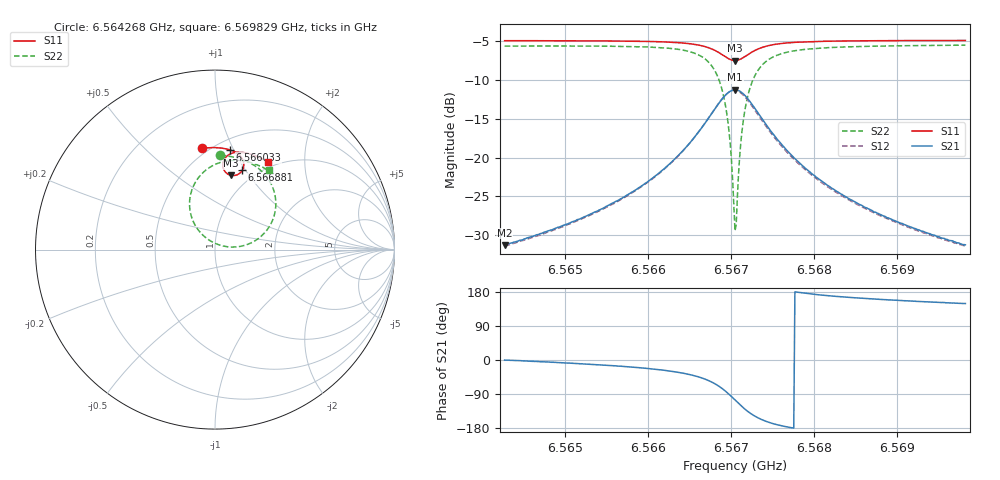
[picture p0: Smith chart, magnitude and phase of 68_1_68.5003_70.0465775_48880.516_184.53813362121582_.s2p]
#  HZ  S  RI  R  50.00
! Rohde & Schwarz Vector Network Analyzer
! Rohde-Schwarz,ZNB20-2Port,1311601062101988,3.16
! Created: UTC 3/20/2024, 5:06:46 PM
! freq[Hz]  re:S11  im:S11  re:S21  im:S21  re:S12  im:S12  re:S22  im:S22
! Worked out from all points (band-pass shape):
!   401 points, 6.564268 GHz to 6.569829 GHz, reference 50 ohm
!   highest |S21| = -11.24 dB at 6.567048 GHz (marker M1); lowest = -31.3 dB at 6.564268 GHz (marker M2)
!   |S21| within 3 dB of the highest: 6.566771 GHz to 6.567327 GHz (555.7 kHz wide, 0.00846 % of centre)
!   lowest |S11| = -7.5 dB at 6.567048 GHz (marker M3), VSWR 2.47, Z = 41 + j41.3 ohm
!   |S11| at or under -10 dB: nowhere
!   |S22| runs from -29.4 to -5.5 dB; largest |S21 - S12| = 0.013
!   S11 on the Smith chart (normalised r, x): 6.564268 GHz: 0.46, +0.77; 6.566033 GHz: 0.59, +0.97; 6.566881 GHz: 0.86, +0.97; 6.569829 GHz: 0.92, +1.33
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6.5642675e9  -0.0697 0.5648  0.0274 -0.000127  0.0268 -0.000472  0.0297 0.5244
6.565199e9  0.00615 0.5679  0.0402 -0.00703  0.0396 -0.00767  0.1168 0.5123
6.5660332e9  0.083 0.5559  0.0667 -0.0285  0.0656 -0.0293  0.222 0.467
6.5661305e9  0.0933 0.5523  0.072 -0.0343  0.0706 -0.035  0.2382 0.4553
6.5664364e9  0.1279 0.5335  0.0925 -0.0659  0.091 -0.0671  0.2968 0.3931
6.5666588e9  0.1533 0.503  0.106 -0.1188  0.1037 -0.1212  0.3364 0.2909
6.566784e9  0.1603 0.4723  0.0991 -0.1723  0.0949 -0.1754  0.3296 0.189
6.5668813e9  0.152 0.4415  0.0672 -0.2251  0.0601 -0.228  0.2732 0.09
6.5669647e9  0.1272 0.4184  0.0082 -0.2624  -0.00234 -0.2625  0.1652 0.0236
6.5669925e9  0.1153 0.414  -0.0178 -0.2682  -0.029 -0.2666  0.1183 0.015
6.5670342e9  0.0959 0.4126  -0.0596 -0.2673  -0.0709 -0.2628  0.0441 0.0203
6.5670481e9  0.0893 0.4136  -0.0733 -0.2643  -0.0845 -0.2587  0.0201 0.0272
6.567062e9  0.0829 0.4153  -0.0869 -0.2597  -0.0975 -0.2532  -0.00329 0.0365
6.5670759e9  0.0768 0.4178  -0.0998 -0.254  -0.11 -0.2468  -0.0251 0.0482
6.5671176e9  0.0607 0.4289  -0.1333 -0.2304  -0.1414 -0.2208  -0.0807 0.0941
6.5671593e9  0.0498 0.4436  -0.1576 -0.2004  -0.1628 -0.1898  -0.118 0.1495
6.567215e9  0.0435 0.465  -0.1743 -0.1583  -0.1765 -0.1477  -0.1401 0.2252
6.5672845e9  0.0456 0.4887  -0.177 -0.1119  -0.1762 -0.1027  -0.1362 0.3063
6.5675347e9  0.0841 0.5324  -0.1341 -0.0247  -0.1311 -0.0208  -0.0389 0.4518
6.5679796e9  0.145 0.5422  -0.0782 0.00845  -0.0762 0.00964  0.0897 0.497
6.5689111e9  0.2304 0.5206  -0.0378 0.0148  -0.0369 0.015  0.2194 0.4785
6.5698287e9  0.2975 0.4872  -0.0235 0.0141  -0.0229 0.0143  0.2982 0.4409
